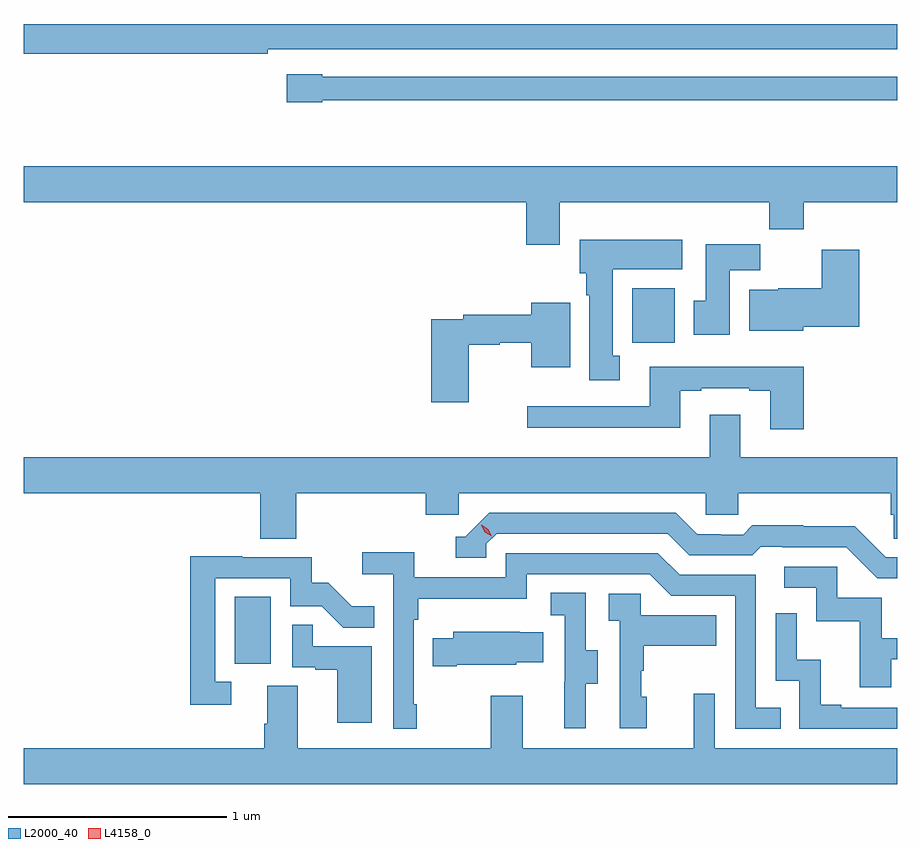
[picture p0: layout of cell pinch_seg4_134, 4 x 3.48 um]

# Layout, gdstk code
import gdstk
lib = gdstk.Library(unit=1e-6, precision=1e-09)
def R(c, l, rs):  # rectangles x0, y0, x1, y1
    for r in rs: c.add(gdstk.rectangle(r[:2], r[2:], *l))
def P(c, l, *ps):  # polygons
    for p in ps: c.add(gdstk.Polygon(p, *l))
L2000_40 = (2000, 40)
L4158_0 = (4158, 0)

pinch_seg4_134 = lib.new_cell('pinch_seg4_134')
R(pinch_seg4_134, L2000_40, [(1029.566,804.03,1029.73,804.337), (1031.385,805.5,1031.581,805.75)])
P(pinch_seg4_134, L2000_40, [(1029.716,806.844),(1032.599,806.844),(1032.599,806.96),(1028.599,806.96),(1028.599,806.824),(1029.716,806.824)],
  [(1029.966,806.61),(1032.599,806.61),(1032.599,806.718),(1029.966,806.718),(1029.966,806.731),(1029.804,806.731),(1029.804,806.602),(1029.966,806.602)],
  [(1028.599,806.144),(1030.901,806.144),(1030.901,805.95),(1031.053,805.95),(1031.053,806.144),(1032.013,806.144),(1032.013,806.02),(1032.17,806.02),(1032.17,806.144),(1032.599,806.144),(1032.599,806.308),(1028.599,806.308)],
  [(1031.329,805.441),(1031.296,805.441),(1031.296,805.838),(1031.614,805.838),(1031.614,805.972),(1031.144,805.972),(1031.144,805.818),(1031.174,805.818),(1031.174,805.718),(1031.189,805.718),(1031.189,805.329),(1031.329,805.329)],
  [(1031.833,805.832),(1031.972,805.832),(1031.972,805.951),(1031.723,805.951),(1031.723,805.692),(1031.666,805.692),(1031.666,805.536),(1031.833,805.536)],
  [(1032.168,805.574),(1032.425,805.574),(1032.425,805.927),(1032.254,805.927),(1032.254,805.75),(1032.054,805.75),(1032.054,805.744),(1031.921,805.744),(1031.921,805.556),(1032.168,805.556)],
  [(1030.636,805.492),(1030.779,805.492),(1030.779,805.5),(1030.922,805.5),(1030.922,805.388),(1031.101,805.388),(1031.101,805.684),(1030.922,805.684),(1030.922,805.628),(1030.612,805.628),(1030.612,805.608),(1030.466,805.608),(1030.466,805.227),(1030.636,805.227)],
  [(1032.17,805.39),(1031.465,805.39),(1031.465,805.209),(1030.905,805.209),(1030.905,805.112),(1031.605,805.112),(1031.605,805.281),(1031.701,805.281),(1031.701,805.293),(1031.921,805.293),(1031.921,805.281),(1032.017,805.281),(1032.017,805.104),(1032.17,805.104)],
  [(1028.599,804.812),(1029.683,804.812),(1029.683,804.604),(1029.848,804.604),(1029.848,804.812),(1030.439,804.812),(1030.439,804.714),(1030.59,804.714),(1030.59,804.812),(1031.721,804.812),(1031.721,804.714),(1031.871,804.714),(1031.871,804.812),(1032.569,804.812),(1032.569,804.714),(1032.583,804.714),(1032.583,804.604),(1032.599,804.604),(1032.599,804.976),(1031.881,804.976),(1031.881,805.171),(1031.741,805.171),(1031.741,804.976),(1028.599,804.976)],
  [(1032.599,804.519),(1032.546,804.519),(1032.404,804.661),(1032.168,804.661),(1032.168,804.664),(1031.935,804.664),(1031.893,804.621),(1031.79,804.621),(1031.79,804.624),(1031.683,804.624),(1031.584,804.723),(1030.731,804.723),(1030.62,804.612),(1030.577,804.612),(1030.577,804.516),(1030.716,804.516),(1030.716,804.579),(1030.764,804.627),(1031.547,804.627),(1031.646,804.528),(1031.935,804.528),(1031.974,804.567),(1032.073,804.567),(1032.073,804.564),(1032.366,804.564),(1032.507,804.423),(1032.599,804.423)],
  [(1030.399,803.845),(1030.386,803.845),(1030.386,804.233),(1030.406,804.233),(1030.406,804.329),(1030.902,804.329),(1030.902,804.441),(1031.466,804.441),(1031.565,804.342),(1031.856,804.342),(1031.856,803.733),(1032.065,803.733),(1032.065,803.829),(1031.952,803.829),(1031.952,804.438),(1031.602,804.438),(1031.503,804.537),(1030.806,804.537),(1030.806,804.426),(1030.388,804.426),(1030.388,804.542),(1030.149,804.542),(1030.149,804.44),(1030.29,804.44),(1030.29,803.733),(1030.399,803.733)],
  [(1029.55,803.949),(1029.477,803.949),(1029.477,804.423),(1029.819,804.423),(1029.819,804.294),(1029.963,804.294),(1030.061,804.196),(1030.205,804.196),(1030.205,804.295),(1030.101,804.295),(1029.994,804.402),(1029.918,804.402),(1029.918,804.519),(1029.599,804.519),(1029.599,804.524),(1029.361,804.524),(1029.361,803.844),(1029.55,803.844)],
  [(1032.571,804.051),(1032.599,804.051),(1032.599,804.147),(1032.529,804.147),(1032.529,804.333),(1032.324,804.333),(1032.324,804.474),(1032.081,804.474),(1032.081,804.378),(1032.228,804.378),(1032.228,804.225),(1032.427,804.225),(1032.427,803.922),(1032.571,803.922)],
  [(1031.173,803.938),(1031.227,803.938),(1031.227,804.093),(1031.172,804.093),(1031.172,804.356),(1031.013,804.356),(1031.013,804.253),(1031.076,804.253),(1031.076,803.949),(1031.075,803.949),(1031.075,803.736),(1031.173,803.736)],
  [(1031.452,803.88),(1031.427,803.88),(1031.427,803.999),(1031.437,803.999),(1031.437,804.113),(1031.771,804.113),(1031.771,804.253),(1031.424,804.253),(1031.424,804.351),(1031.277,804.351),(1031.277,804.227),(1031.328,804.227),(1031.328,803.736),(1031.452,803.736)],
  [(1032.599,803.829),(1032.343,803.829),(1032.343,803.842),(1032.248,803.842),(1032.248,804.05),(1032.138,804.05),(1032.138,804.262),(1032.042,804.262),(1032.042,803.952),(1032.15,803.952),(1032.15,803.733),(1032.599,803.733)],
  [(1030.192,804.111),(1029.923,804.111),(1029.923,804.209),(1029.828,804.209),(1029.828,804.015),(1029.935,804.015),(1029.935,804.003),(1030.034,804.003),(1030.034,803.76),(1030.192,803.76)],
  [(1030.582,804.026),(1030.854,804.026),(1030.854,804.038),(1030.979,804.038),(1030.979,804.175),(1030.871,804.175),(1030.871,804.178),(1030.565,804.178),(1030.565,804.148),(1030.471,804.148),(1030.471,804.019),(1030.582,804.019)],
  [(1032.599,803.644),(1031.763,803.644),(1031.763,803.893),(1031.666,803.893),(1031.666,803.644),(1030.885,803.644),(1030.885,803.884),(1030.738,803.884),(1030.738,803.644),(1029.853,803.644),(1029.853,803.93),(1029.713,803.93),(1029.713,803.756),(1029.701,803.756),(1029.701,803.644),(1028.599,803.644),(1028.599,803.48),(1032.599,803.48)])
P(pinch_seg4_134, L4158_0, [(1030.741,804.614),(1030.71,804.633),(1030.693,804.665),(1030.693,804.666),(1030.694,804.666),(1030.725,804.646),(1030.741,804.614),(1030.741,804.614)])

lib.write_gds('pinch_seg4_134.gds')
